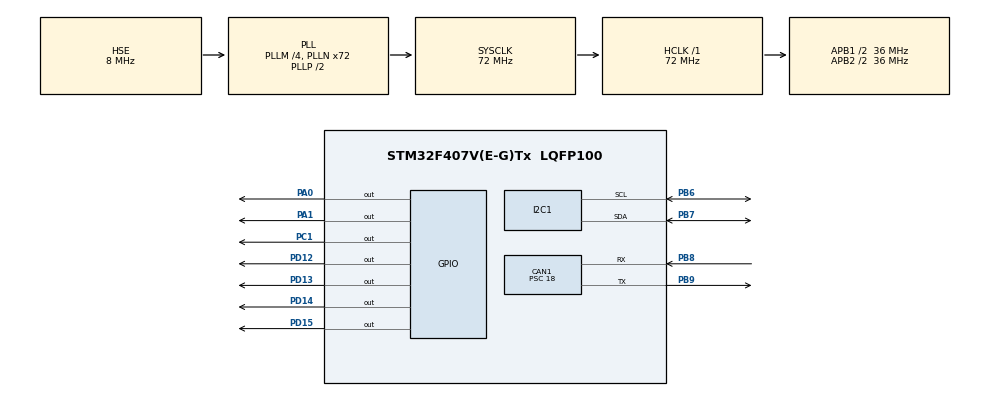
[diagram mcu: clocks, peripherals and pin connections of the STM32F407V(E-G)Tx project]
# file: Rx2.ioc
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CAN1.BS1=CAN_BS1_2TQ
CAN1.CalculateBaudRate=500000
CAN1.CalculateTimeBit=2000
CAN1.CalculateTimeQuantum=500.0
CAN1.Prescaler=18
Mcu.Family=STM32F4
Mcu.Name=STM32F407V(E-G)Tx
Mcu.Package=LQFP100
NVIC.CAN1_RX0_IRQn=true\:0\:0\:false\:false\:true\:true\:true\:true
NVIC.PriorityGroup=NVIC_PRIORITYGROUP_0
PA0-WKUP.Signal=GPIO_Output
PA1.Signal=GPIO_Output
PB6.Mode=I2C
PB6.Signal=I2C1_SCL
PB7.Mode=I2C
PB7.Signal=I2C1_SDA
PB8.Mode=CAN_Activate
PB8.Signal=CAN1_RX
PB9.Mode=CAN_Activate
PB9.Signal=CAN1_TX
PC1.Signal=GPIO_Output
PD12.Signal=GPIO_Output
PD13.Signal=GPIO_Output
PD14.Signal=GPIO_Output
PD15.Signal=GPIO_Output
PH0-OSC_IN.Mode=HSE-External-Oscillator
PH0-OSC_IN.Signal=RCC_OSC_IN
PH1-OSC_OUT.Mode=HSE-External-Oscillator
PH1-OSC_OUT.Signal=RCC_OSC_OUT
ProjectManager.HeapSize=0x200
ProjectManager.StackSize=0x400
ProjectManager.TargetToolchain=STM32CubeIDE
RCC.48MHZClocksFreq_Value=20571428.57142857
RCC.AHBFreq_Value=72000000
RCC.APB1CLKDivider=RCC_HCLK_DIV2
RCC.APB1Freq_Value=36000000
RCC.APB1TimFreq_Value=72000000
RCC.APB2CLKDivider=RCC_HCLK_DIV2
RCC.APB2Freq_Value=36000000
RCC.APB2TimFreq_Value=72000000
RCC.CortexFreq_Value=72000000
RCC.HCLKFreq_Value=72000000
RCC.HSE_VALUE=8000000
RCC.HSI_VALUE=16000000
RCC.LSE_VALUE=32768
RCC.PLLM=4
RCC.PLLN=72
RCC.PLLQ=7
RCC.PLLSourceVirtual=RCC_PLLSOURCE_HSE
RCC.SYSCLKFreq_VALUE=72000000
RCC.SYSCLKSource=RCC_SYSCLKSOURCE_PLLCLK
RCC.VCOOutputFreq_Value=144000000
board=STM32F407G-DISC1

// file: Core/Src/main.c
/* USER CODE BEGIN Header */
/**
  ******************************************************************************
  * @file           : main.c
  * @brief          : Main program body
  ******************************************************************************
  * @attention
  *
  * Copyright (c) 2023 STMicroelectronics.
  * All rights reserved.
  *
  * This software is licensed under terms that can be found in the LICENSE file
  * in the root directory of this software component.
  * If no LICENSE file comes with this software, it is provided AS-IS.
  *
  ******************************************************************************
  */
/* USER CODE END Header */
#include "main.h"

/* USER CODE BEGIN Includes */
#include<stdio.h>
#include<string.h>
#include "lcd.h"
/* USER CODE END Includes */

CAN_HandleTypeDef hcan1;

I2C_HandleTypeDef hi2c1;

void SystemClock_Config(void);
static void MX_GPIO_Init(void);
static void MX_CAN1_Init(void);
static void MX_I2C1_Init(void);

/* USER CODE BEGIN 0 */
CAN_RxHeaderTypeDef RxHeader;
uint8_t RxData[5];
char temp_str[20];
char ldr_str[20];
char seatbelt_str[20];
char door_str[20];

void HAL_CAN_RxFifo0MsgPendingCallback(CAN_HandleTypeDef *hcan){

	HAL_GPIO_WritePin(GPIOD, GPIO_PIN_15, GPIO_PIN_SET); // blue
	HAL_CAN_GetRxMessage(hcan, CAN_RX_FIFO0, &RxHeader, RxData);
}

void fancontrol(uint8_t a)
{
	if(a > 5)
	{
//		HAL_GPIO_WritePin(GPIOD, GPIO_PIN_12,GPIO_PIN_SET);
//		HAL_Delay(1000);
//		HAL_GPIO_WritePin(GPIOD, GPIO_PIN_12, GPIO_PIN_RESET);
		lcd_put_cur(0, 0);
		lcd_send_string("FAN ON");
		HAL_Delay(1000);
		lcd_clear();
	}
	else
	{
//		HAL_GPIO_WritePin(GPIOD, GPIO_PIN_14,GPIO_PIN_SET);
//		HAL_Delay(1000);
//		HAL_GPIO_WritePin(GPIOD, GPIO_PIN_14, GPIO_PIN_RESET);
		lcd_put_cur(0, 0);
		lcd_send_string("FAN OFF");
		HAL_Delay(1000);
		lcd_clear();
	}
}
void lightcontrol(uint8_t b)
{
	if(b > 3)
	{
//		HAL_GPIO_WritePin(GPIOD, GPIO_PIN_13,GPIO_PIN_SET);
//		HAL_Delay(1000);
//		HAL_GPIO_WritePin(GPIOD, GPIO_PIN_13, GPIO_PIN_RESET);
		lcd_put_cur(0, 0);
		lcd_send_string("LIGHT ON");
		HAL_Delay(1000);
		lcd_clear();
	}
	else
	{
//		HAL_GPIO_WritePin(GPIOD, GPIO_PIN_15,GPIO_PIN_SET);
//		HAL_Delay(1000);
//		HAL_GPIO_WritePin(GPIOD, GPIO_PIN_15, GPIO_PIN_RESET);
		lcd_put_cur(0, 0);
		lcd_send_string("LIGHT OFF");
		HAL_Delay(1000);
		lcd_clear();
	}

}

void seat_belt_status(uint8_t seatbelt)
{
	if(seatbelt==1)
	{
		HAL_GPIO_WritePin(GPIOD, GPIO_PIN_12,GPIO_PIN_SET);
		HAL_Delay(1000);
		HAL_GPIO_WritePin(GPIOD, GPIO_PIN_12, GPIO_PIN_RESET);
		lcd_put_cur(0, 0);
		lcd_send_string("Seat Belt Opened");
		HAL_Delay(1000);
		lcd_clear();
	}
	else
	{
		HAL_GPIO_WritePin(GPIOD, GPIO_PIN_14,GPIO_PIN_SET);
		HAL_Delay(1000);
		HAL_GPIO_WritePin(GPIOD, GPIO_PIN_14, GPIO_PIN_RESET);
		lcd_put_cur(0, 0);
		lcd_send_string("Seat Belt Closed");
		HAL_Delay(1000);
		lcd_clear();
	}
}
void door_status(uint8_t door)
{
	if(door==1)
		{
			HAL_GPIO_WritePin(GPIOD, GPIO_PIN_13,GPIO_PIN_SET);
			HAL_Delay(1000);
			HAL_GPIO_WritePin(GPIOD, GPIO_PIN_13, GPIO_PIN_RESET);
			lcd_put_cur(0, 0);
			lcd_send_string("Door Is Open");
			HAL_Delay(1000);
			lcd_clear();
		}
		else
		{
			HAL_GPIO_WritePin(GPIOD, GPIO_PIN_15,GPIO_PIN_SET);
			HAL_Delay(1000);
			HAL_GPIO_WritePin(GPIOD, GPIO_PIN_15, GPIO_PIN_RESET);
			lcd_put_cur(0, 0);
			lcd_send_string("Door Is Closed");
			HAL_Delay(1000);
			lcd_clear();
		}
}
/* USER CODE END 0 */

int main(void)
{

  /* MCU Configuration--------------------------------------------------------*/

  /* Reset of all peripherals, Initializes the Flash interface and the Systick. */
  HAL_Init();

  /* Configure the system clock */
  SystemClock_Config();

  /* Initialize all configured peripherals */
  MX_GPIO_Init();
  MX_CAN1_Init();
  MX_I2C1_Init();
  lcd_init();
  HAL_Delay(200);
  lcd_clear();

  /* USER CODE BEGIN 2 */
	HAL_CAN_Start(&hcan1);
	HAL_CAN_ActivateNotification(&hcan1, CAN_IT_RX_FIFO0_MSG_PENDING);
	HAL_Delay(100);
	HAL_Delay(100);
	/* USER CODE END 2 */
	HAL_Delay(3000);
	lcd_put_cur(0, 0);
	lcd_send_string("Vehicle Automat-");
	lcd_put_cur(1, 0);
	lcd_send_string("ion Using CAN");
	//lcd_send_data(0xDF);
	HAL_Delay(3000);
	lcd_clear();

  /* Infinite loop */
  /* USER CODE BEGIN WHILE */

  while (1)
  {

	  //HAL_GPIO_WritePin(GPIOA, GPIO_PIN_0, GPIO_PIN_SET);
		if(RxData[0] == 'S'){
			HAL_GPIO_WritePin(GPIOD, GPIO_PIN_12, GPIO_PIN_SET); //
			HAL_Delay(1000);
			HAL_GPIO_WritePin(GPIOD, GPIO_PIN_12, GPIO_PIN_RESET);

		}

		uint8_t a=RxData[1];
		sprintf(temp_str,"%d\n", a);
		lcd_put_cur(0, 0);
		// just a random string display into LCD
		lcd_send_string("Temperarture : ");
		// LCD cursor point at row 1 column 0
		lcd_put_cur(1, 0);
		// print the temperature value to LCD display
		lcd_send_string(temp_str);
		// LCD cursor point at row 1 column 2
		lcd_put_cur(1, 2);
		// print the (degree) sign into LCD
		lcd_send_data(0xDF);
		// LCD cursor point at row 1 column 3
		lcd_put_cur(1, 3);
		// print the (Celsius) sign into LCD
		lcd_send_data('C');
		HAL_Delay(1000);
		lcd_clear();
		fancontrol(a);
		HAL_Delay(1000);

		uint8_t b=RxData[2];
		sprintf(ldr_str,"%d\n", b);
		lcd_put_cur(0, 0);
		// just a random string display into LCD
		lcd_send_string("LDR Status : ");
		// LCD cursor point at row 1 column 0
		lcd_put_cur(1, 0);
		// print the temperature value to LCD display
		lcd_send_string(ldr_str);
		HAL_Delay(1000);
		lcd_clear();
		lightcontrol(b);
		HAL_Delay(1000);

		uint8_t seatbelt=RxData[3];
		sprintf(seatbelt_str,"%d\n", seatbelt);
		lcd_put_cur(0, 0);
		// just a random string display into LCD
		lcd_send_string("LDR Status : ");
		// LCD cursor point at row 1 column 0
		lcd_put_cur(1, 0);
		// print the temperature value to LCD display
		lcd_send_string(seatbelt_str);
		HAL_Delay(1000);
		lcd_clear();
		HAL_Delay(1000);
		seat_belt_status(seatbelt);
		HAL_Delay(1000);

		uint8_t door=RxData[4];
		sprintf(door_str,"%d\n", door);
		lcd_put_cur(0, 0);
		// just a random string display into LCD
		lcd_send_string("LDR Status : ");
		// LCD cursor point at row 1 column 0
		lcd_put_cur(1, 0);
		// print the temperature value to LCD display
		lcd_send_string(door_str);
		HAL_Delay(1000);
		lcd_clear();
		door_status(door);

    /* USER CODE END WHILE */

  }
}

void SystemClock_Config(void)
{
  RCC_OscInitTypeDef RCC_OscInitStruct = {0};
  RCC_ClkInitTypeDef RCC_ClkInitStruct = {0};

  /** Configure the main internal regulator output voltage
  */
  __HAL_RCC_PWR_CLK_ENABLE();
  __HAL_PWR_VOLTAGESCALING_CONFIG(PWR_REGULATOR_VOLTAGE_SCALE1);

  /** Initializes the RCC Oscillators according to the specified parameters
  * in the RCC_OscInitTypeDef structure.
  */
  RCC_OscInitStruct.OscillatorType = RCC_OSCILLATORTYPE_HSE;
  RCC_OscInitStruct.HSEState = RCC_HSE_ON;
  RCC_OscInitStruct.PLL.PLLState = RCC_PLL_ON;
  RCC_OscInitStruct.PLL.PLLSource = RCC_PLLSOURCE_HSE;
  RCC_OscInitStruct.PLL.PLLM = 4;
  RCC_OscInitStruct.PLL.PLLN = 72;
  RCC_OscInitStruct.PLL.PLLP = RCC_PLLP_DIV2;
  RCC_OscInitStruct.PLL.PLLQ = 7;
  if (HAL_RCC_OscConfig(&RCC_OscInitStruct) != HAL_OK)
  {
    Error_Handler();
  }

  /** Initializes the CPU, AHB and APB buses clocks
  */
  RCC_ClkInitStruct.ClockType = RCC_CLOCKTYPE_HCLK|RCC_CLOCKTYPE_SYSCLK
                              |RCC_CLOCKTYPE_PCLK1|RCC_CLOCKTYPE_PCLK2;
  RCC_ClkInitStruct.SYSCLKSource = RCC_SYSCLKSOURCE_PLLCLK;
  RCC_ClkInitStruct.AHBCLKDivider = RCC_SYSCLK_DIV1;
  RCC_ClkInitStruct.APB1CLKDivider = RCC_HCLK_DIV2;
  RCC_ClkInitStruct.APB2CLKDivider = RCC_HCLK_DIV2;

  if (HAL_RCC_ClockConfig(&RCC_ClkInitStruct, FLASH_LATENCY_2) != HAL_OK)
  {
    Error_Handler();
  }
}

static void MX_CAN1_Init(void)
{

  hcan1.Instance = CAN1;
  hcan1.Init.Prescaler = 18;
  hcan1.Init.Mode = CAN_MODE_NORMAL;
  hcan1.Init.SyncJumpWidth = CAN_SJW_1TQ;
  hcan1.Init.TimeSeg1 = CAN_BS1_2TQ;
  hcan1.Init.TimeSeg2 = CAN_BS2_1TQ;
  hcan1.Init.TimeTriggeredMode = DISABLE;
  hcan1.Init.AutoBusOff = DISABLE;
  hcan1.Init.AutoWakeUp = DISABLE;
  hcan1.Init.AutoRetransmission = DISABLE;
  hcan1.Init.ReceiveFifoLocked = DISABLE;
  hcan1.Init.TransmitFifoPriority = DISABLE;
  if (HAL_CAN_Init(&hcan1) != HAL_OK)
  {
    Error_Handler();
  }
  /* USER CODE BEGIN CAN1_Init 2 */
  CAN_FilterTypeDef canFilterConfig;
  canFilterConfig.FilterActivation=CAN_FILTER_ENABLE;
  canFilterConfig.SlaveStartFilterBank=14;
  canFilterConfig.FilterBank=2;
  canFilterConfig.FilterFIFOAssignment=CAN_RX_FIFO0;
  canFilterConfig.FilterScale=CAN_FILTERSCALE_32BIT;
  canFilterConfig.FilterMode=CAN_FILTERMODE_IDMASK;
  canFilterConfig.FilterMaskIdLow=0x0000;
  canFilterConfig.FilterMaskIdHigh=0xFF00;
  canFilterConfig.FilterIdLow=0x0000;
  canFilterConfig.FilterIdHigh=0x1500;
  HAL_CAN_ConfigFilter(&hcan1, &canFilterConfig);
  /* USER CODE END CAN1_Init 2 */

}

static void MX_I2C1_Init(void)
{

  hi2c1.Instance = I2C1;
  hi2c1.Init.ClockSpeed = 100000;
  hi2c1.Init.DutyCycle = I2C_DUTYCYCLE_2;
  hi2c1.Init.OwnAddress1 = 0;
  hi2c1.Init.AddressingMode = I2C_ADDRESSINGMODE_7BIT;
  hi2c1.Init.DualAddressMode = I2C_DUALADDRESS_DISABLE;
  hi2c1.Init.OwnAddress2 = 0;
  hi2c1.Init.GeneralCallMode = I2C_GENERALCALL_DISABLE;
  hi2c1.Init.NoStretchMode = I2C_NOSTRETCH_DISABLE;
  if (HAL_I2C_Init(&hi2c1) != HAL_OK)
  {
    Error_Handler();
  }

}

static void MX_GPIO_Init(void)
{
  GPIO_InitTypeDef GPIO_InitStruct = {0};

  /* GPIO Ports Clock Enable */
  __HAL_RCC_GPIOH_CLK_ENABLE();
  __HAL_RCC_GPIOC_CLK_ENABLE();
  __HAL_RCC_GPIOA_CLK_ENABLE();
  __HAL_RCC_GPIOD_CLK_ENABLE();
  __HAL_RCC_GPIOB_CLK_ENABLE();

  /*Configure GPIO pin Output Level */
  HAL_GPIO_WritePin(GPIOC, GPIO_PIN_1, GPIO_PIN_RESET);

  /*Configure GPIO pin Output Level */
  HAL_GPIO_WritePin(GPIOA, GPIO_PIN_0|GPIO_PIN_1, GPIO_PIN_RESET);

  /*Configure GPIO pin Output Level */
  HAL_GPIO_WritePin(GPIOD, GPIO_PIN_12|GPIO_PIN_13|GPIO_PIN_14|GPIO_PIN_15, GPIO_PIN_RESET);

  /*Configure GPIO pin : PC1 */
  GPIO_InitStruct.Pin = GPIO_PIN_1;
  GPIO_InitStruct.Mode = GPIO_MODE_OUTPUT_PP;
  GPIO_InitStruct.Pull = GPIO_NOPULL;
  GPIO_InitStruct.Speed = GPIO_SPEED_FREQ_LOW;
  HAL_GPIO_Init(GPIOC, &GPIO_InitStruct);

  /*Configure GPIO pins : PA0 PA1 */
  GPIO_InitStruct.Pin = GPIO_PIN_0|GPIO_PIN_1;
  GPIO_InitStruct.Mode = GPIO_MODE_OUTPUT_PP;
  GPIO_InitStruct.Pull = GPIO_NOPULL;
  GPIO_InitStruct.Speed = GPIO_SPEED_FREQ_LOW;
  HAL_GPIO_Init(GPIOA, &GPIO_InitStruct);

  /*Configure GPIO pins : PD12 PD13 PD14 PD15 */
  GPIO_InitStruct.Pin = GPIO_PIN_12|GPIO_PIN_13|GPIO_PIN_14|GPIO_PIN_15;
  GPIO_InitStruct.Mode = GPIO_MODE_OUTPUT_PP;
  GPIO_InitStruct.Pull = GPIO_NOPULL;
  GPIO_InitStruct.Speed = GPIO_SPEED_FREQ_LOW;
  HAL_GPIO_Init(GPIOD, &GPIO_InitStruct);

}

void Error_Handler(void)
{
  __disable_irq();
  while (1)
  {
  }
}
